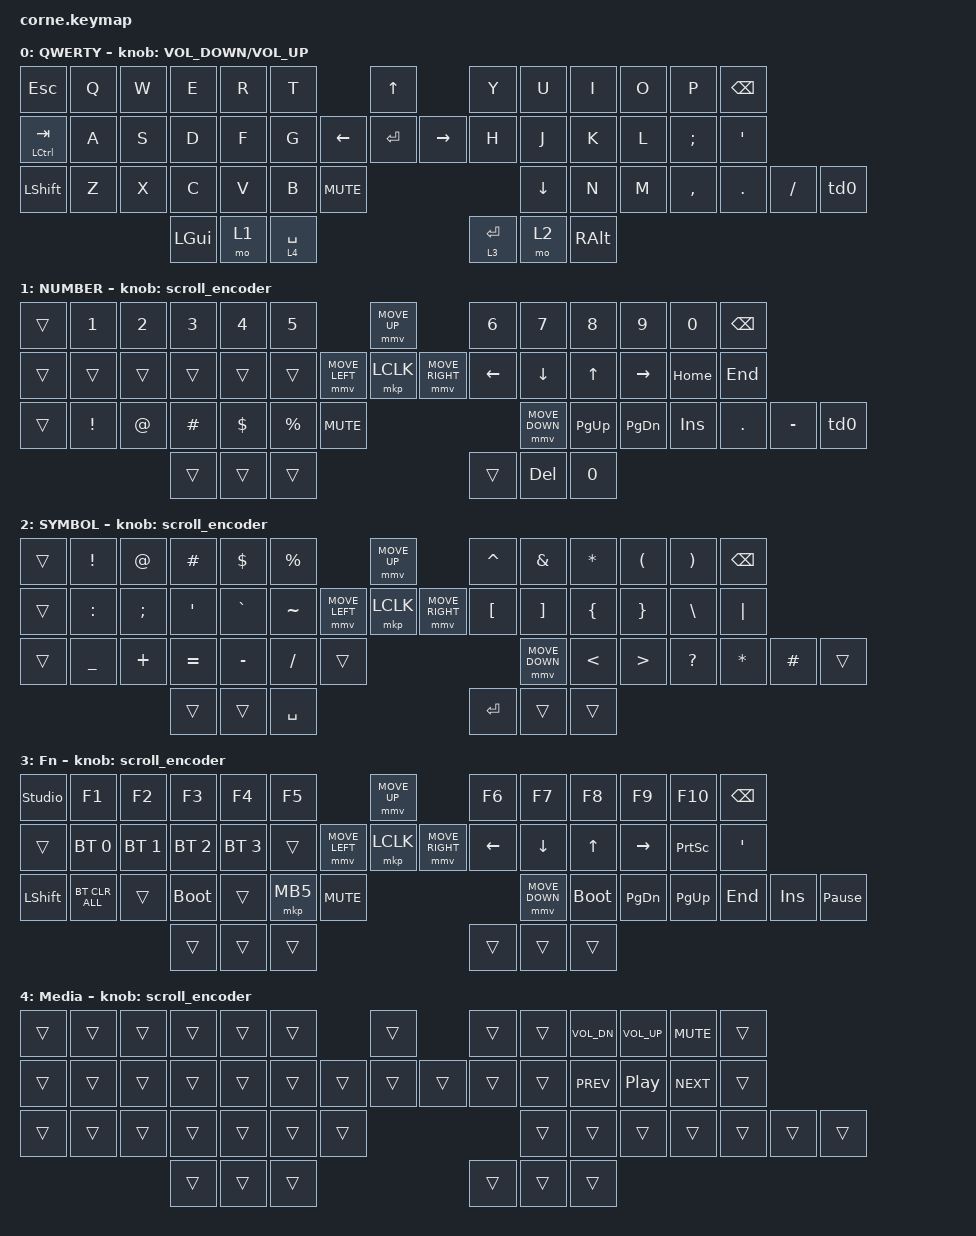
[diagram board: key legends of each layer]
#define ZMK_POINTING_DEFAULT_MOVE_VAL 1200  // 600
#define ZMK_POINTING_DEFAULT_SCRL_VAL 25   // 10

#include <input/processors.dtsi>
#include <zephyr/dt-bindings/input/input-event-codes.h>
#include <behaviors.dtsi>
#include <dt-bindings/zmk/bt.h>
#include <dt-bindings/zmk/keys.h>
#include <dt-bindings/zmk/pointing.h>
#include <dt-bindings/zmk/rgb.h>

&mmv_input_listener { input-processors = <&zip_xy_scaler 2 1>; };

&msc_input_listener { input-processors = <&zip_scroll_scaler 2 1>; };

&msc {
    acceleration-exponent = <1>;      // 0
    time-to-max-speed-ms = <100>;       // 300
    delay-ms = <0>;                   // 0
};

&mmv {
    time-to-max-speed-ms = <500>;
    acceleration-exponent = <1>;
    trigger-period-ms = <16>;
};

&soft_off { hold-time-ms = <2000>; };

/ {
    behaviors {
        td0: td0 {
            compatible = "zmk,behavior-tap-dance";
            display-name = "Shift/Caps Lock Tap Dance";
            #binding-cells = <0>;
            tapping-term-ms = <200>;
            bindings = <&kp LEFT_SHIFT>, <&kp CAPS>;
        };
    };

    rgb_encoder: rgb_encoder {
        compatible = "zmk,behavior-sensor-rotate";
        #sensor-binding-cells = <0>;
        bindings = <&rgb_ug RGB_BRI>, <&rgb_ug RGB_BRD>;
    };

    scroll_encoder: scroll_encoder {
        compatible = "zmk,behavior-sensor-rotate";
        #sensor-binding-cells = <0>;
        bindings = <&msc SCRL_DOWN>, <&msc SCRL_UP>;

        tap-ms = <100>;
    };

    combos {
        compatible = "zmk,combos";

        softoff {
            bindings = <&soft_off>;
            key-positions = <1 15 29>;
        };
    };

    keymap {
        compatible = "zmk,keymap";

        default_layer {
            display-name = "QWERTY";
            bindings = <
&kp ESC  &kp Q  &kp W  &kp E     &kp R  &kp T                               &kp UP                &kp Y        &kp U  &kp I      &kp O    &kp P     &kp BSPC
&mt LCTRL TAB  &kp A  &kp S  &kp D     &kp F  &kp G                     &kp LEFT  &kp ENTER  &kp RIGHT  &kp H        &kp J  &kp K      &kp L    &kp SEMI  &kp SQT
&kp LSHFT  &kp Z  &kp X  &kp C   &kp V  &kp B             &kp C_MUTE             &kp DOWN              &kp N        &kp M  &kp COMMA  &kp DOT  &kp FSLH  &td0
                       &kp LGUI  &mo 1  &lt 4 SPACE                                               &lt 3 ENTER  &mo 2  &kp RALT
            >;

            sensor-bindings = <&inc_dec_kp C_VOLUME_DOWN C_VOLUME_UP>;
        };

        lower_layer {
            display-name = "NUMBER";
            bindings = <
&trans  &kp N1          &kp N2          &kp N3          &kp N4          &kp N5                         &mmv MOVE_UP                     &kp N6   &kp N7  &kp N8  &kp N9  &kp N0  &kp BSPC
&trans  &trans         &trans          &trans          &trans          &trans                         &mmv MOVE_LEFT  &mkp LCLK       &mmv MOVE_RIGHT  &kp LEFT &kp DOWN &kp UP &kp RIGHT &kp HOME &kp END
&trans  &kp EXCL        &kp AT          &kp HASH        &kp DLLR        &kp PRCNT                     &kp C_MUTE                    &mmv MOVE_DOWN                   &kp PAGE_UP &kp PAGE_DOWN &kp INS &kp DOT &kp MINUS &td0
                                         &trans        &trans        &trans                                                                          &trans     &kp DEL  &kp N0
            >;

            sensor-bindings = <&scroll_encoder>;
        };

        raise_layer {
            display-name = "SYMBOL";
            bindings = <
&trans  &kp EXCL   &kp AT     &kp HASH  &kp DLLR  &kp PRCNT                            &mmv MOVE_UP                     &kp CARET  &kp AMPS   &kp ASTRK  &kp LPAR  &kp RPAR  &kp BSPC
&trans  &kp COLON  &kp SEMI   &kp SQT   &kp GRAVE  &kp TILDE             &mmv MOVE_LEFT  &mkp LCLK       &mmv MOVE_RIGHT  &kp LBKT  &kp RBKT  &kp LBRC  &kp RBRC  &kp BSLH  &kp PIPE
&trans  &kp UNDER  &kp PLUS   &kp EQUAL &kp MINUS  &kp SLASH   &trans                    &mmv MOVE_DOWN                  &kp LESS_THAN &kp GREATER_THAN &kp QUESTION &kp ASTERISK &kp HASH &trans
                               &trans    &trans    &kp SPACE                                                             &kp RET    &trans     &trans
            >;

            sensor-bindings = <&scroll_encoder>;
        };

        layer_3 {
            display-name = "Fn";
            bindings = <
&studio_unlock  &kp F1       &kp F2     &kp F3       &kp F4     &kp F5                                  &mmv MOVE_UP                     &kp F6       &kp F7     &kp F8       &kp F9      &kp F10          &kp BSPC
&trans          &bt BT_SEL 0  &bt BT_SEL 1  &bt BT_SEL 2  &bt BT_SEL 3  &trans                &mmv MOVE_LEFT  &mkp LCLK       &mmv MOVE_RIGHT   &kp LEFT     &kp DOWN   &kp UP       &kp RIGHT   &kp PRINTSCREEN  &kp SQT
&kp LSHFT       &bt BT_CLR_ALL &trans     &bootloader  &trans     &mkp MB5  &kp C_MUTE                    &mmv MOVE_DOWN                   &bootloader       &kp PAGE_DOWN &kp PAGE_UP &kp END &kp INS   &kp PAUSE_BREAK
                                       &trans       &trans     &trans                                                                   &trans       &trans     &trans
            >;

            sensor-bindings = <&scroll_encoder>;
        };

        layer_4 {
            display-name = "Media";
            bindings = <
&trans  &trans  &trans  &trans  &trans  &trans                    &trans          &trans  &trans  &kp C_VOL_DN &kp C_VOL_UP &kp C_MUTE  &trans
&trans  &trans  &trans  &trans  &trans  &trans            &trans  &trans  &trans  &trans  &trans  &kp C_PREV   &kp C_PLAY_PAUSE  &kp C_NEXT  &trans
&trans  &trans  &trans  &trans  &trans  &trans  &trans            &trans          &trans  &trans  &trans  &trans  &trans  &trans
                        &trans  &trans  &trans                                    &trans  &trans  &trans
            >;

            sensor-bindings = <&scroll_encoder>;
        };
    };
};


